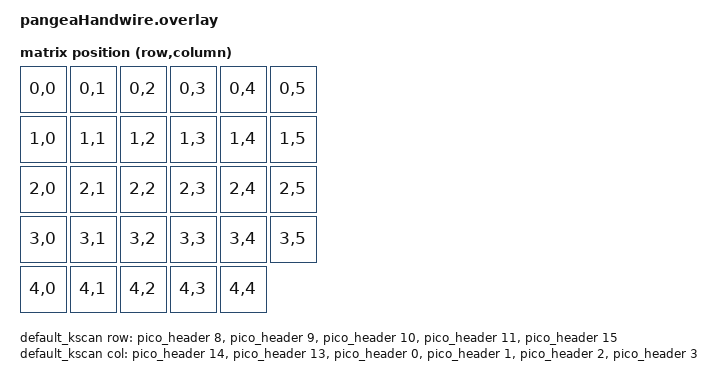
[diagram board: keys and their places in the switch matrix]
#include <dt-bindings/zmk/matrix_transform.h>

/ {
    chosen {
        zmk,kscan = &default_kscan;
        zmk,matrix-transform = &default_transform;
        zmk,physical-layout = &physical_layout0;
    };

    default_kscan: kscan {
        compatible = "zmk,kscan-gpio-matrix";
        label = "default_kscan";
        diode-direction = "row2col";
    
        row-gpios = <&pico_header 8 GPIO_ACTIVE_HIGH>,
                    <&pico_header 9 GPIO_ACTIVE_HIGH>,
                    <&pico_header 10 GPIO_ACTIVE_HIGH>,
                    <&pico_header 11 GPIO_ACTIVE_HIGH>,
                    <&pico_header 15 GPIO_ACTIVE_HIGH>;

        col-gpios = <&pico_header 14 (GPIO_ACTIVE_HIGH | GPIO_PULL_DOWN)>,
                    <&pico_header 13 (GPIO_ACTIVE_HIGH | GPIO_PULL_DOWN)>,
                    <&pico_header 0 (GPIO_ACTIVE_HIGH | GPIO_PULL_DOWN)>,
                    <&pico_header 1 (GPIO_ACTIVE_HIGH | GPIO_PULL_DOWN)>,
                    <&pico_header 2 (GPIO_ACTIVE_HIGH | GPIO_PULL_DOWN)>,
                    <&pico_header 3 (GPIO_ACTIVE_HIGH | GPIO_PULL_DOWN)>;
    };

    default_transform: matrix_transform {
        compatible = "zmk,matrix-transform";
        rows = <5>;
        columns = <6>;

        map = <
            RC(0,0) RC(0,1) RC(0,2) RC(0,3) RC(0,4) RC(0,5)
            RC(1,0) RC(1,1) RC(1,2) RC(1,3) RC(1,4) RC(1,5)
            RC(2,0) RC(2,1) RC(2,2) RC(2,3) RC(2,4) RC(2,5)
            RC(3,0) RC(3,1) RC(3,2) RC(3,3) RC(3,4) RC(3,5)
            RC(4,0) RC(4,1) RC(4,2) RC(4,3) RC(4,4)
        >;
    };
    physical_layout0: physical_layout_0 { // First physical layout, use different naming for other layouts
        compatible = "zmk,physical-layout";
        display-name = "Default Layout";
        transform = <&default_transform>; // Label of the matrix transform for this layout
    };
};
